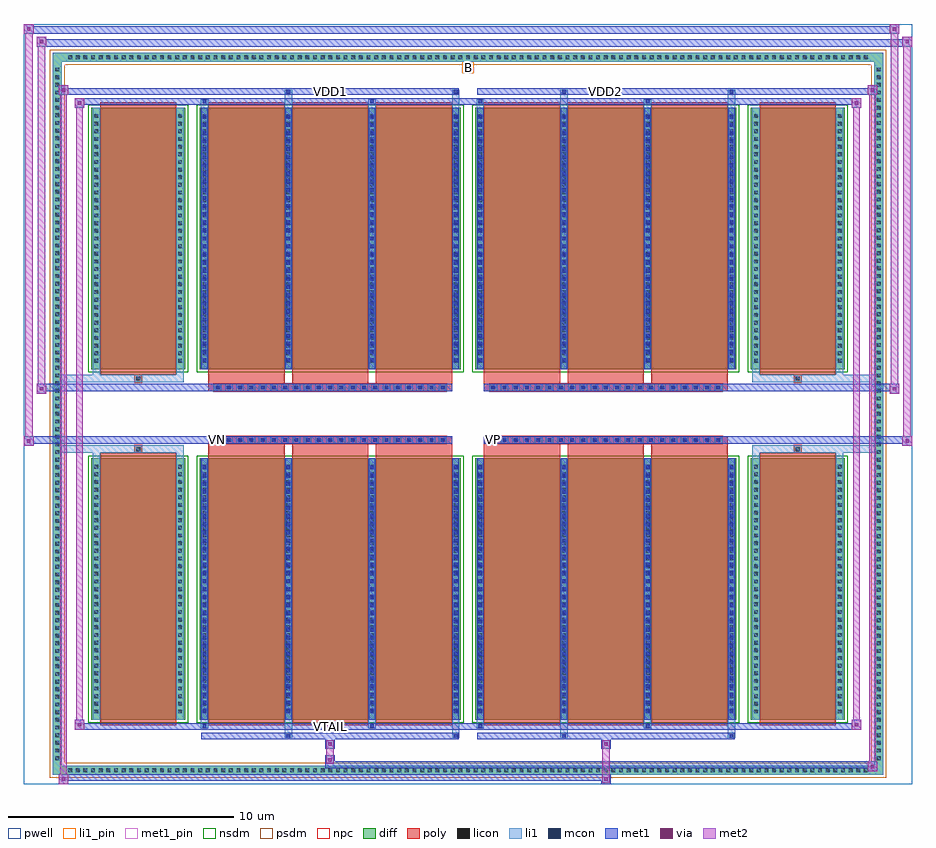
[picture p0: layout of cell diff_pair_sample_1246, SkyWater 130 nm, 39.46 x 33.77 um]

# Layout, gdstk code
import gdstk
lib = gdstk.Library(unit=1e-6, precision=5e-09)
def R(c, l, rs):  # rectangles x0, y0, x1, y1
    for r in rs: c.add(gdstk.rectangle(r[:2], r[2:], *l))
def A(c, l, x, y, w, h, nx, ny, dx, dy):  # array of equal rectangles
    R(c, l, [(x+i*dx, y+j*dy, x+i*dx+w, y+j*dy+h) for i in range(nx) for j in range(ny)])
def P(c, l, *ps):  # polygons
    for p in ps: c.add(gdstk.Polygon(p, *l))
pwell = (64, 44)
diff = (65, 20)
poly = (66, 20)
licon = (66, 44)
li1_pin = (67, 16)
li1 = (67, 20)
mcon = (67, 44)
met1_pin = (68, 16)
met1 = (68, 20)
via = (68, 44)
met2 = (69, 20)
nsdm = (93, 44)
psdm = (94, 20)
npc = (95, 20)

diff_pair_sample_1246 = lib.new_cell('diff_pair_sample_1246')
R(diff_pair_sample_1246, pwell, [(-19.73,-16.45,19.73,17.32), (-17.05,-14.64,-0.01,-0.8), (0.01,-14.64,17.05,-0.8), (-17.05,0.8,-0.01,14.64), (0.01,0.8,17.05,14.64)])
A(diff_pair_sample_1246, diff, -17.885, -16.05, 0.41, 0.41, 105, 2, 0.34, 31.69)
A(diff_pair_sample_1246, diff, -18.46, -15.505, 0.41, 0.41, 1, 91, 0, 0.34)
A(diff_pair_sample_1246, diff, 18.05, -15.505, 0.41, 0.41, 1, 91, 0, 0.34)
R(diff_pair_sample_1246, diff, [(-17.885,-16.05,17.885,-15.64), (-18.46,-15.505,-18.05,15.505), (18.05,-15.505,18.46,15.505), (-16.74,-13.595,-12.57,-1.985), (-11.93,-13.595,-0.32,-1.985), (0.32,-13.595,11.93,-1.985), (12.57,-13.595,16.74,-1.985), (-16.74,1.985,-12.57,13.595), (-11.93,1.985,-0.32,13.595), (0.32,1.985,11.93,13.595), (12.57,1.985,16.74,13.595), (-17.885,15.64,17.885,16.05)])
P(diff_pair_sample_1246, diff, [(18.46,16.05),(-18.46,16.05),(-18.46,-15.64),(-18.05,-15.64),(-18.05,15.64),(18.05,15.64),(18.05,-15.64),(-18.05,-15.64),(-18.46,-15.64),(-18.46,-16.05),(18.46,-16.05)])
A(diff_pair_sample_1246, poly, -11.54, -13.845, 3.39, 12.11, 3, 2, 3.72, 15.58)
A(diff_pair_sample_1246, poly, 0.71, -13.845, 3.39, 12.11, 3, 2, 3.72, 15.58)
A(diff_pair_sample_1246, poly, -11.54, -1.735, 3.39, 0.405, 3, 2, 3.72, 3.065)
A(diff_pair_sample_1246, poly, 0.71, -1.735, 3.39, 0.405, 3, 2, 3.72, 3.065)
A(diff_pair_sample_1246, poly, -11.29, -1.33, 0.33, 0.33, 21, 2, 0.5, 2.33)
A(diff_pair_sample_1246, poly, 0.96, -1.33, 0.33, 0.33, 21, 2, 0.5, 2.33)
R(diff_pair_sample_1246, poly, [(-16.35,-13.845,-12.96,-1.735), (12.96,-13.845,16.35,-1.735), (-14.82,-1.735,-14.49,-1.405), (-14.82,-1.735,-14.49,-1.405), (14.49,-1.735,14.82,-1.405), (14.49,-1.735,14.82,-1.405), (-11.54,-1.33,-0.71,-1), (0.71,-1.33,11.54,-1), (-11.54,1,-0.71,1.33), (0.71,1,11.54,1.33), (-14.82,1.405,-14.49,1.735), (-14.82,1.405,-14.49,1.735), (14.49,1.405,14.82,1.735), (14.49,1.405,14.82,1.735), (-16.35,1.735,-12.96,13.845), (12.96,1.735,16.35,13.845)])
A(diff_pair_sample_1246, licon, -17.765, -15.93, 0.17, 0.17, 105, 2, 0.34, 31.69)
A(diff_pair_sample_1246, licon, -18.34, -15.385, 0.17, 0.17, 1, 91, 0, 0.34)
A(diff_pair_sample_1246, licon, 18.17, -15.385, 0.17, 0.17, 1, 91, 0, 0.34)
A(diff_pair_sample_1246, licon, -16.6, -13.315, 0.17, 0.17, 1, 33, 0, 0.34)
A(diff_pair_sample_1246, licon, -12.88, -13.315, 0.17, 0.17, 1, 33, 0, 0.34)
A(diff_pair_sample_1246, licon, -11.79, -13.315, 0.17, 0.17, 4, 33, 3.72, 0.34)
A(diff_pair_sample_1246, licon, 0.46, -13.315, 0.17, 0.17, 4, 33, 3.72, 0.34)
A(diff_pair_sample_1246, licon, 12.71, -13.315, 0.17, 0.17, 1, 33, 0, 0.34)
A(diff_pair_sample_1246, licon, 16.43, -13.315, 0.17, 0.17, 1, 33, 0, 0.34)
A(diff_pair_sample_1246, licon, -11.21, -1.25, 0.17, 0.17, 21, 2, 0.5, 2.33)
A(diff_pair_sample_1246, licon, 1.04, -1.25, 0.17, 0.17, 21, 2, 0.5, 2.33)
A(diff_pair_sample_1246, licon, -16.6, 2.265, 0.17, 0.17, 1, 33, 0, 0.34)
A(diff_pair_sample_1246, licon, -12.88, 2.265, 0.17, 0.17, 1, 33, 0, 0.34)
A(diff_pair_sample_1246, licon, -11.79, 2.265, 0.17, 0.17, 4, 33, 3.72, 0.34)
A(diff_pair_sample_1246, licon, 0.46, 2.265, 0.17, 0.17, 4, 33, 3.72, 0.34)
A(diff_pair_sample_1246, licon, 12.71, 2.265, 0.17, 0.17, 1, 33, 0, 0.34)
A(diff_pair_sample_1246, licon, 16.43, 2.265, 0.17, 0.17, 1, 33, 0, 0.34)
R(diff_pair_sample_1246, licon, [(-14.74,-1.655,-14.57,-1.485), (14.57,-1.655,14.74,-1.485), (-14.74,1.485,-14.57,1.655), (14.57,1.485,14.74,1.655)])
R(diff_pair_sample_1246, li1_pin, [(-0.25,15.14,0.25,15.64)])
A(diff_pair_sample_1246, li1, -17.845, -16.01, 0.33, 0.33, 105, 2, 0.34, 31.69)
A(diff_pair_sample_1246, li1, -18.42, -15.465, 0.33, 0.33, 1, 91, 0, 0.34)
A(diff_pair_sample_1246, li1, 18.09, -15.465, 0.33, 0.33, 1, 91, 0, 0.34)
A(diff_pair_sample_1246, li1, -11.87, -13.595, 0.33, 11.61, 4, 2, 3.72, 15.58)
A(diff_pair_sample_1246, li1, 0.38, -13.595, 0.33, 11.61, 4, 2, 3.72, 15.58)
A(diff_pair_sample_1246, li1, -16.68, -13.395, 0.33, 0.33, 1, 33, 0, 0.34)
A(diff_pair_sample_1246, li1, -12.96, -13.395, 0.33, 0.33, 1, 33, 0, 0.34)
A(diff_pair_sample_1246, li1, -11.87, -13.395, 0.33, 0.33, 4, 33, 3.72, 0.34)
A(diff_pair_sample_1246, li1, 0.38, -13.395, 0.33, 0.33, 4, 33, 3.72, 0.34)
A(diff_pair_sample_1246, li1, 12.63, -13.395, 0.33, 0.33, 1, 33, 0, 0.34)
A(diff_pair_sample_1246, li1, 16.35, -13.395, 0.33, 0.33, 1, 33, 0, 0.34)
A(diff_pair_sample_1246, li1, -11.79, -13.275, 0.17, 0.17, 4, 31, 3.72, 0.36)
A(diff_pair_sample_1246, li1, -11.79, -13.275, 0.17, 10.97, 4, 2, 3.72, 15.58)
A(diff_pair_sample_1246, li1, 0.46, -13.275, 0.17, 0.17, 4, 31, 3.72, 0.36)
A(diff_pair_sample_1246, li1, 0.46, -13.275, 0.17, 10.97, 4, 2, 3.72, 15.58)
A(diff_pair_sample_1246, li1, -11.29, -1.33, 0.33, 0.33, 21, 2, 0.5, 2.33)
A(diff_pair_sample_1246, li1, 0.96, -1.33, 0.33, 0.33, 21, 2, 0.5, 2.33)
A(diff_pair_sample_1246, li1, -16.68, 2.185, 0.33, 0.33, 1, 33, 0, 0.34)
A(diff_pair_sample_1246, li1, -12.96, 2.185, 0.33, 0.33, 1, 33, 0, 0.34)
A(diff_pair_sample_1246, li1, -11.87, 2.185, 0.33, 0.33, 4, 33, 3.72, 0.34)
A(diff_pair_sample_1246, li1, 0.38, 2.185, 0.33, 0.33, 4, 33, 3.72, 0.34)
A(diff_pair_sample_1246, li1, 12.63, 2.185, 0.33, 0.33, 1, 33, 0, 0.34)
A(diff_pair_sample_1246, li1, 16.35, 2.185, 0.33, 0.33, 1, 33, 0, 0.34)
A(diff_pair_sample_1246, li1, -11.79, 2.305, 0.17, 0.17, 4, 31, 3.72, 0.36)
A(diff_pair_sample_1246, li1, 0.46, 2.305, 0.17, 0.17, 4, 31, 3.72, 0.36)
R(diff_pair_sample_1246, li1, [(-18.46,-16.05,-18.05,-15.64), (-18.46,-16.05,-18.05,-15.64), (-18.05,-16.05,18.05,-15.64), (18.05,-16.05,18.46,-15.64), (18.05,-16.05,18.46,-15.64), (-18.46,-15.64,-18.05,15.64), (18.05,-15.64,18.46,15.64), (-8.15,-14.4,-7.82,-13.595), (-8.07,-14.4,-7.9,-14.23), (-0.71,-14.4,-0.38,-13.595), (-0.63,-14.4,-0.46,-14.23), (4.1,-14.4,4.43,-13.595), (4.18,-14.4,4.35,-14.23), (11.54,-14.4,11.87,-13.595), (11.62,-14.4,11.79,-14.23), (-11.87,-13.97,-11.54,-13.595), (-11.79,-13.97,-11.62,-13.8), (-4.43,-13.97,-4.1,-13.595), (-4.35,-13.97,-4.18,-13.8), (0.38,-13.97,0.71,-13.595), (0.46,-13.97,0.63,-13.8), (7.82,-13.97,8.15,-13.595), (7.9,-13.97,8.07,-13.8), (-16.68,-13.595,-16.35,-1.985), (-12.96,-13.595,-12.63,-1.985), (12.63,-13.595,12.96,-1.985), (16.35,-13.595,16.68,-1.985), (-16.68,-1.985,-16.35,-1.405), (-12.96,-1.985,-12.63,-1.405), (12.63,-1.985,12.96,-1.405), (16.35,-1.985,16.68,-1.405), (-18.46,-1.735,-14.82,-1.405), (-16.68,-1.735,-14.82,-1.405), (-14.82,-1.735,-14.49,-1.405), (-14.49,-1.735,-12.63,-1.405), (12.63,-1.735,14.49,-1.405), (14.49,-1.735,14.82,-1.405), (14.49,-1.735,18.46,-1.405), (14.82,-1.735,16.68,-1.405), (-18.46,1.405,-14.82,1.735), (-16.68,1.405,-14.82,1.735), (-16.68,1.405,-16.35,1.985), (-14.82,1.405,-14.49,1.735), (-14.49,1.405,-12.63,1.735), (-12.96,1.405,-12.63,1.985), (12.63,1.405,14.49,1.735), (12.63,1.405,12.96,1.985), (14.49,1.405,14.82,1.735), (14.49,1.405,18.46,1.735), (14.82,1.405,16.68,1.735), (16.35,1.405,16.68,1.985), (-16.68,1.985,-16.35,13.595), (-12.96,1.985,-12.63,13.595), (12.63,1.985,12.96,13.595), (16.35,1.985,16.68,13.595), (-11.87,13.595,-11.54,13.97), (-8.15,13.595,-7.82,14.4), (-4.43,13.595,-4.1,13.97), (-0.71,13.595,-0.38,14.4), (0.38,13.595,0.71,13.97), (4.1,13.595,4.43,14.4), (7.82,13.595,8.15,13.97), (11.54,13.595,11.87,14.4), (-11.79,13.8,-11.62,13.97), (-4.35,13.8,-4.18,13.97), (0.46,13.8,0.63,13.97), (7.9,13.8,8.07,13.97), (-8.07,14.23,-7.9,14.4), (-0.63,14.23,-0.46,14.4), (4.18,14.23,4.35,14.4), (11.62,14.23,11.79,14.4), (-18.46,15.64,-18.05,16.05), (-18.46,15.64,-18.05,16.05), (-18.05,15.64,18.05,16.05), (18.05,15.64,18.46,16.05), (18.05,15.64,18.46,16.05)])
A(diff_pair_sample_1246, mcon, -11.79, -13.275, 0.17, 0.17, 4, 31, 3.72, 0.36)
A(diff_pair_sample_1246, mcon, 0.46, -13.275, 0.17, 0.17, 4, 31, 3.72, 0.36)
A(diff_pair_sample_1246, mcon, -11.21, -1.25, 0.17, 0.17, 21, 2, 0.5, 2.33)
A(diff_pair_sample_1246, mcon, 1.04, -1.25, 0.17, 0.17, 21, 2, 0.5, 2.33)
A(diff_pair_sample_1246, mcon, -11.79, 2.305, 0.17, 0.17, 4, 31, 3.72, 0.36)
A(diff_pair_sample_1246, mcon, 0.46, 2.305, 0.17, 0.17, 4, 31, 3.72, 0.36)
R(diff_pair_sample_1246, mcon, [(-8.07,-14.4,-7.9,-14.23), (-0.63,-14.4,-0.46,-14.23), (4.18,-14.4,4.35,-14.23), (11.62,-14.4,11.79,-14.23), (-11.79,-13.97,-11.62,-13.8), (-4.35,-13.97,-4.18,-13.8), (0.46,-13.97,0.63,-13.8), (7.9,-13.97,8.07,-13.8), (-11.79,13.8,-11.62,13.97), (-4.35,13.8,-4.18,13.97), (0.46,13.8,0.63,13.97), (7.9,13.8,8.07,13.97), (-8.07,14.23,-7.9,14.4), (-0.63,14.23,-0.46,14.4), (4.18,14.23,4.35,14.4), (11.62,14.23,11.79,14.4)])
R(diff_pair_sample_1246, met1_pin, [(-6.26,-14.01,-5.99,-13.74), (-11.26,-1.29,-10.99,-1.02), (0.99,-1.29,1.26,-1.02), (-6.26,14.19,-5.99,14.46), (5.99,14.19,6.26,14.46)])
A(diff_pair_sample_1246, met1, -11.85, -13.595, 0.29, 11.61, 4, 2, 3.72, 15.58)
A(diff_pair_sample_1246, met1, 0.4, -13.595, 0.29, 11.61, 4, 2, 3.72, 15.58)
A(diff_pair_sample_1246, met1, -11.85, -13.335, 0.29, 0.29, 4, 31, 3.72, 0.36)
A(diff_pair_sample_1246, met1, 0.4, -13.335, 0.29, 0.29, 4, 31, 3.72, 0.36)
A(diff_pair_sample_1246, met1, -11.27, -1.31, 0.29, 0.29, 21, 2, 0.5, 2.33)
A(diff_pair_sample_1246, met1, 0.98, -1.31, 0.29, 0.29, 21, 2, 0.5, 2.33)
A(diff_pair_sample_1246, met1, -11.85, 2.245, 0.29, 0.29, 4, 31, 3.72, 0.36)
A(diff_pair_sample_1246, met1, 0.4, 2.245, 0.29, 0.29, 4, 31, 3.72, 0.36)
R(diff_pair_sample_1246, met1, [(-18.19,-16.45,-17.76,-16.02), (5.91,-16.45,6.34,-16.02), (-18.19,-16.31,6.34,-16.02), (17.76,-15.88,18.19,-15.45), (-6.34,-15.74,18.19,-15.45), (-6.34,-15.6,-5.91,-15.17), (-6.34,-14.89,-5.91,-14.46), (5.91,-14.89,6.34,-14.46), (-11.85,-14.46,-0.4,-14.17), (-8.13,-14.46,-7.84,-14.17), (-0.69,-14.46,-0.4,-14.17), (0.4,-14.46,11.85,-14.17), (4.12,-14.46,4.41,-14.17), (11.56,-14.46,11.85,-14.17), (-17.48,-14.03,-17.05,-13.6), (-17.48,-14.03,-11.85,-13.74), (-11.85,-14.03,-11.56,-13.74), (-11.85,-14.03,-0.4,-13.74), (-4.41,-14.03,-4.12,-13.74), (-0.4,-14.03,0.4,-13.74), (0.4,-14.03,0.69,-13.74), (0.4,-14.03,11.85,-13.74), (7.84,-14.03,8.13,-13.74), (11.85,-14.03,17.48,-13.74), (17.05,-14.03,17.48,-13.6), (-19.73,-1.43,-19.3,-1), (19.3,-1.43,19.73,-1), (-19.73,-1.33,-0.71,-1), (-11.54,-1.33,-0.71,-1), (0.71,-1.33,11.54,-1), (0.71,-1.33,19.73,-1), (-19.16,0.9,-18.73,1.33), (18.73,0.9,19.16,1.33), (-19.16,1,-11.54,1.33), (-11.54,1,-0.71,1.33), (0.71,1,11.54,1.33), (11.54,1,19.16,1.33), (-17.48,13.6,-17.05,14.03), (17.05,13.6,17.48,14.03), (-17.48,13.74,-11.85,14.03), (-11.85,13.74,-11.56,14.03), (-11.85,13.74,-0.4,14.03), (-4.41,13.74,-4.12,14.03), (-0.4,13.74,0.4,14.03), (0.4,13.74,0.69,14.03), (0.4,13.74,11.85,14.03), (7.84,13.74,8.13,14.03), (11.85,13.74,17.48,14.03), (-18.19,14.17,-17.76,14.6), (-18.19,14.17,-11.85,14.46), (-11.85,14.17,-0.4,14.46), (-8.13,14.17,-7.84,14.46), (-0.69,14.17,-0.4,14.46), (0.4,14.17,11.85,14.46), (4.12,14.17,4.41,14.46), (11.56,14.17,11.85,14.46), (11.85,14.17,18.19,14.46), (17.76,14.17,18.19,14.6), (-19.16,16.32,-18.73,16.75), (-19.16,16.32,-17.05,16.65), (-17.05,16.32,17.05,16.65), (17.05,16.32,19.73,16.65), (19.3,16.32,19.73,16.75), (-19.73,16.89,-19.3,17.32), (-19.73,16.89,-17.05,17.22), (-17.05,16.89,17.05,17.22), (17.05,16.89,19.16,17.22), (18.73,16.89,19.16,17.32)])
R(diff_pair_sample_1246, via, [(-18.05,-16.31,-17.9,-16.16), (6.05,-16.31,6.2,-16.16), (17.9,-15.74,18.05,-15.59), (-6.2,-15.46,-6.05,-15.31), (-6.2,-14.75,-6.05,-14.6), (6.05,-14.75,6.2,-14.6), (-17.34,-13.89,-17.19,-13.74), (17.19,-13.89,17.34,-13.74), (-19.59,-1.29,-19.44,-1.14), (19.44,-1.29,19.59,-1.14), (-19.02,1.04,-18.87,1.19), (18.87,1.04,19.02,1.19), (-17.34,13.74,-17.19,13.89), (17.19,13.74,17.34,13.89), (-18.05,14.31,-17.9,14.46), (17.9,14.31,18.05,14.46), (-19.02,16.46,-18.87,16.61), (19.44,16.46,19.59,16.61), (-19.59,17.03,-19.44,17.18), (18.87,17.03,19.02,17.18)])
R(diff_pair_sample_1246, met2, [(-18.19,-16.45,-17.76,-16.02), (-18.12,-16.45,-17.83,14.6), (-17.83,-16.45,-17.76,-16.02), (-18.14,-16.4,-17.81,-16.07), (5.96,-16.4,6.29,-16.07), (5.96,-16.07,6.29,-14.84), (17.76,-15.88,18.19,-15.45), (17.83,-15.88,18.12,14.6), (18.12,-15.88,18.19,-15.45), (17.81,-15.83,18.14,-15.5), (-6.29,-15.55,-5.96,-15.22), (-6.29,-15.22,-5.96,-14.84), (-6.29,-14.84,-5.96,-14.51), (5.96,-14.84,6.29,-14.51), (-17.48,-14.03,-17.05,-13.6), (-17.41,-14.03,-17.12,14.03), (-17.12,-14.03,-17.05,-13.6), (17.05,-14.03,17.48,-13.6), (17.12,-14.03,17.41,14.03), (17.41,-14.03,17.48,-13.6), (-17.43,-13.98,-17.1,-13.65), (17.1,-13.98,17.43,-13.65), (-19.73,-1.43,-19.3,-1), (-19.68,-1.43,-19.35,17.32), (-19.35,-1.43,-19.3,-1), (19.3,-1.43,19.73,-1), (19.35,-1.43,19.68,16.75), (19.68,-1.43,19.73,-1), (-19.68,-1.38,-19.35,-1.05), (19.35,-1.38,19.68,-1.05), (-19.16,0.9,-18.73,1.33), (-19.11,0.9,-18.78,16.75), (-18.78,0.9,-18.73,1.33), (18.73,0.9,19.16,1.33), (18.78,0.9,19.11,17.32), (19.11,0.9,19.16,1.33), (-19.11,0.95,-18.78,1.28), (18.78,0.95,19.11,1.28), (-17.48,13.6,-17.05,14.03), (-17.12,13.6,-17.05,14.03), (17.05,13.6,17.48,14.03), (17.41,13.6,17.48,14.03), (-17.43,13.65,-17.1,13.98), (17.1,13.65,17.43,13.98), (-18.19,14.17,-17.76,14.6), (-17.83,14.17,-17.76,14.6), (17.76,14.17,18.19,14.6), (18.12,14.17,18.19,14.6), (-18.14,14.22,-17.81,14.55), (17.81,14.22,18.14,14.55), (-19.16,16.32,-18.73,16.75), (-18.78,16.32,-18.73,16.75), (19.3,16.32,19.73,16.75), (19.68,16.32,19.73,16.75), (-19.11,16.37,-18.78,16.7), (19.35,16.37,19.68,16.7), (-19.73,16.89,-19.3,17.32), (-19.35,16.89,-19.3,17.32), (18.73,16.89,19.16,17.32), (19.11,16.89,19.16,17.32), (-19.68,16.94,-19.35,17.27), (18.78,16.94,19.11,17.27)])
R(diff_pair_sample_1246, nsdm, [(-16.87,-13.725,-12.44,-1.855), (-12.06,-13.725,-0.19,-1.855), (0.19,-13.725,12.06,-1.855), (12.44,-13.725,16.87,-1.855), (-16.87,1.855,-12.44,13.725), (-12.06,1.855,-0.19,13.725), (0.19,1.855,12.06,13.725), (12.44,1.855,16.87,13.725)])
P(diff_pair_sample_1246, psdm, [(18.59,16.18),(-18.59,16.18),(-18.59,-15.51),(-17.92,-15.51),(-17.92,15.51),(17.92,15.51),(17.92,-15.51),(-17.92,-15.51),(-18.59,-15.51),(-18.59,-16.18),(18.59,-16.18)])
A(diff_pair_sample_1246, npc, -11.31, -1.35, 0.37, 0.37, 21, 2, 0.5, 2.33)
A(diff_pair_sample_1246, npc, 0.94, -1.35, 0.37, 0.37, 21, 2, 0.5, 2.33)
R(diff_pair_sample_1246, npc, [(-14.84,-1.755,-14.47,-1.385), (14.47,-1.755,14.84,-1.385), (-11.31,-1.35,-10.44,-0.98), (-11.31,-1.35,-10.44,-0.98), (-10.81,-1.35,-9.94,-0.98), (-10.81,-1.35,-9.94,-0.98), (-10.31,-1.35,-9.44,-0.98), (-10.31,-1.35,-9.44,-0.98), (-9.81,-1.35,-8.94,-0.98), (-9.81,-1.35,-8.94,-0.98), (-9.31,-1.35,-8.44,-0.98), (-9.31,-1.35,-8.44,-0.98), (-8.81,-1.35,-7.94,-0.98), (-8.81,-1.35,-7.94,-0.98), (-8.31,-1.35,-7.44,-0.98), (-8.31,-1.35,-7.44,-0.98), (-7.81,-1.35,-6.94,-0.98), (-7.81,-1.35,-6.94,-0.98), (-7.31,-1.35,-6.44,-0.98), (-7.31,-1.35,-6.44,-0.98), (-6.81,-1.35,-5.94,-0.98), (-6.81,-1.35,-5.94,-0.98), (-6.31,-1.35,-5.44,-0.98), (-6.31,-1.35,-5.44,-0.98), (-5.81,-1.35,-4.94,-0.98), (-5.81,-1.35,-4.94,-0.98), (-5.31,-1.35,-4.44,-0.98), (-5.31,-1.35,-4.44,-0.98), (-4.81,-1.35,-3.94,-0.98), (-4.81,-1.35,-3.94,-0.98), (-4.31,-1.35,-3.44,-0.98), (-4.31,-1.35,-3.44,-0.98), (-3.81,-1.35,-2.94,-0.98), (-3.81,-1.35,-2.94,-0.98), (-3.31,-1.35,-2.44,-0.98), (-3.31,-1.35,-2.44,-0.98), (-2.81,-1.35,-1.94,-0.98), (-2.81,-1.35,-1.94,-0.98), (-2.31,-1.35,-1.44,-0.98), (-2.31,-1.35,-1.44,-0.98), (-1.81,-1.35,-0.94,-0.98), (-1.81,-1.35,-0.94,-0.98), (0.94,-1.35,1.81,-0.98), (0.94,-1.35,1.81,-0.98), (1.44,-1.35,2.31,-0.98), (1.44,-1.35,2.31,-0.98), (1.94,-1.35,2.81,-0.98), (1.94,-1.35,2.81,-0.98), (2.44,-1.35,3.31,-0.98), (2.44,-1.35,3.31,-0.98), (2.94,-1.35,3.81,-0.98), (2.94,-1.35,3.81,-0.98), (3.44,-1.35,4.31,-0.98), (3.44,-1.35,4.31,-0.98), (3.94,-1.35,4.81,-0.98), (3.94,-1.35,4.81,-0.98), (4.44,-1.35,5.31,-0.98), (4.44,-1.35,5.31,-0.98), (4.94,-1.35,5.81,-0.98), (4.94,-1.35,5.81,-0.98), (5.44,-1.35,6.31,-0.98), (5.44,-1.35,6.31,-0.98), (5.94,-1.35,6.81,-0.98), (5.94,-1.35,6.81,-0.98), (6.44,-1.35,7.31,-0.98), (6.44,-1.35,7.31,-0.98), (6.94,-1.35,7.81,-0.98), (6.94,-1.35,7.81,-0.98), (7.44,-1.35,8.31,-0.98), (7.44,-1.35,8.31,-0.98), (7.94,-1.35,8.81,-0.98), (7.94,-1.35,8.81,-0.98), (8.44,-1.35,9.31,-0.98), (8.44,-1.35,9.31,-0.98), (8.94,-1.35,9.81,-0.98), (8.94,-1.35,9.81,-0.98), (9.44,-1.35,10.31,-0.98), (9.44,-1.35,10.31,-0.98), (9.94,-1.35,10.81,-0.98), (9.94,-1.35,10.81,-0.98), (10.44,-1.35,11.31,-0.98), (10.44,-1.35,11.31,-0.98), (-11.31,0.98,-10.44,1.35), (-11.31,0.98,-10.44,1.35), (-10.81,0.98,-9.94,1.35), (-10.81,0.98,-9.94,1.35), (-10.31,0.98,-9.44,1.35), (-10.31,0.98,-9.44,1.35), (-9.81,0.98,-8.94,1.35), (-9.81,0.98,-8.94,1.35), (-9.31,0.98,-8.44,1.35), (-9.31,0.98,-8.44,1.35), (-8.81,0.98,-7.94,1.35), (-8.81,0.98,-7.94,1.35), (-8.31,0.98,-7.44,1.35), (-8.31,0.98,-7.44,1.35), (-7.81,0.98,-6.94,1.35), (-7.81,0.98,-6.94,1.35), (-7.31,0.98,-6.44,1.35), (-7.31,0.98,-6.44,1.35), (-6.81,0.98,-5.94,1.35), (-6.81,0.98,-5.94,1.35), (-6.31,0.98,-5.44,1.35), (-6.31,0.98,-5.44,1.35), (-5.81,0.98,-4.94,1.35), (-5.81,0.98,-4.94,1.35), (-5.31,0.98,-4.44,1.35), (-5.31,0.98,-4.44,1.35), (-4.81,0.98,-3.94,1.35), (-4.81,0.98,-3.94,1.35), (-4.31,0.98,-3.44,1.35), (-4.31,0.98,-3.44,1.35), (-3.81,0.98,-2.94,1.35), (-3.81,0.98,-2.94,1.35), (-3.31,0.98,-2.44,1.35), (-3.31,0.98,-2.44,1.35), (-2.81,0.98,-1.94,1.35), (-2.81,0.98,-1.94,1.35), (-2.31,0.98,-1.44,1.35), (-2.31,0.98,-1.44,1.35), (-1.81,0.98,-0.94,1.35), (-1.81,0.98,-0.94,1.35), (0.94,0.98,1.81,1.35), (0.94,0.98,1.81,1.35), (1.44,0.98,2.31,1.35), (1.44,0.98,2.31,1.35), (1.94,0.98,2.81,1.35), (1.94,0.98,2.81,1.35), (2.44,0.98,3.31,1.35), (2.44,0.98,3.31,1.35), (2.94,0.98,3.81,1.35), (2.94,0.98,3.81,1.35), (3.44,0.98,4.31,1.35), (3.44,0.98,4.31,1.35), (3.94,0.98,4.81,1.35), (3.94,0.98,4.81,1.35), (4.44,0.98,5.31,1.35), (4.44,0.98,5.31,1.35), (4.94,0.98,5.81,1.35), (4.94,0.98,5.81,1.35), (5.44,0.98,6.31,1.35), (5.44,0.98,6.31,1.35), (5.94,0.98,6.81,1.35), (5.94,0.98,6.81,1.35), (6.44,0.98,7.31,1.35), (6.44,0.98,7.31,1.35), (6.94,0.98,7.81,1.35), (6.94,0.98,7.81,1.35), (7.44,0.98,8.31,1.35), (7.44,0.98,8.31,1.35), (7.94,0.98,8.81,1.35), (7.94,0.98,8.81,1.35), (8.44,0.98,9.31,1.35), (8.44,0.98,9.31,1.35), (8.94,0.98,9.81,1.35), (8.94,0.98,9.81,1.35), (9.44,0.98,10.31,1.35), (9.44,0.98,10.31,1.35), (9.94,0.98,10.81,1.35), (9.94,0.98,10.81,1.35), (10.44,0.98,11.31,1.35), (10.44,0.98,11.31,1.35), (-14.84,1.385,-14.47,1.755), (14.47,1.385,14.84,1.755)])
diff_pair_sample_1246.add(gdstk.Label('VTAIL', (-6.125,-13.875), layer=68, texttype=5))
diff_pair_sample_1246.add(gdstk.Label('VN', (-11.125,-1.155), layer=68, texttype=5))
diff_pair_sample_1246.add(gdstk.Label('VP', (1.125,-1.155), layer=68, texttype=5))
diff_pair_sample_1246.add(gdstk.Label('B', (0,15.39), layer=67, texttype=5))
diff_pair_sample_1246.add(gdstk.Label('VDD2', (6.125,14.325), layer=68, texttype=5))
diff_pair_sample_1246.add(gdstk.Label('VDD1', (-6.125,14.325), layer=68, texttype=5))

lib.write_gds('diff_pair_sample_1246.gds')
